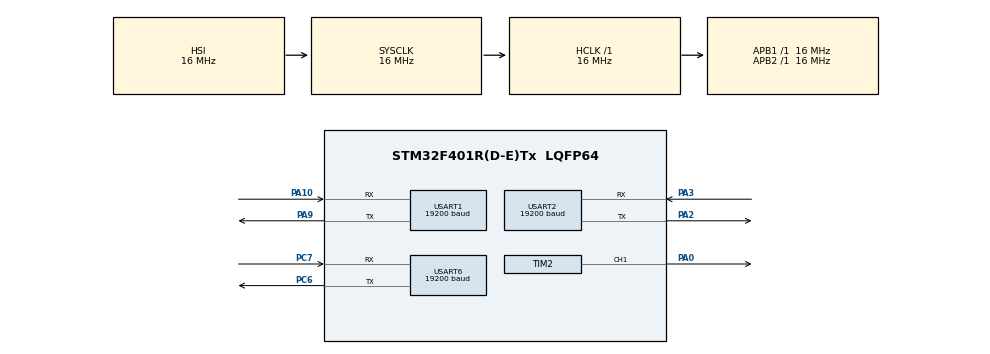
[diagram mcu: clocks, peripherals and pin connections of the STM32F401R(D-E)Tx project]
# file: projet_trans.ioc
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Mcu.Family=STM32F4
Mcu.Name=STM32F401R(D-E)Tx
Mcu.Package=LQFP64
NVIC.PriorityGroup=NVIC_PRIORITYGROUP_4
NVIC.TIM2_IRQn=true\:0\:0\:false\:false\:true\:true\:true
NVIC.TIM3_IRQn=true\:0\:0\:false\:false\:true\:true\:true
NVIC.USART1_IRQn=true\:0\:0\:false\:false\:true\:true\:true
NVIC.USART2_IRQn=true\:0\:0\:false\:false\:true\:true\:true
NVIC.USART6_IRQn=true\:0\:0\:false\:false\:true\:true\:true
PA0-WKUP.Signal=S_TIM2_CH1_ETR
PA10.Mode=Asynchronous
PA10.Signal=USART1_RX
PA2.Mode=Asynchronous
PA2.Signal=USART2_TX
PA3.Mode=Asynchronous
PA3.Signal=USART2_RX
PA9.Mode=Asynchronous
PA9.Signal=USART1_TX
PC6.Mode=Asynchronous
PC6.Signal=USART6_TX
PC7.Mode=Asynchronous
PC7.Signal=USART6_RX
ProjectManager.HeapSize=0x200
ProjectManager.StackSize=0x400
ProjectManager.TargetToolchain=STM32CubeIDE
RCC.AHBFreq_Value=16000000
RCC.APB1Freq_Value=16000000
RCC.APB2Freq_Value=16000000
RCC.CortexFreq_Value=16000000
RCC.HSE_VALUE=25000000
RCC.HSI_VALUE=16000000
RCC.LSE_VALUE=32768
RCC.SYSCLKFreq_VALUE=16000000
RCC.VCOOutputFreq_Value=192000000
SH.S_TIM2_CH1_ETR.0=TIM2_CH1,PWM Generation1 CH1
TIM2.Channel-PWM\ Generation1\ CH1=TIM_CHANNEL_1
TIM2.Period=99
TIM2.Prescaler=15500
TIM3.AutoReloadPreload=TIM_AUTORELOAD_PRELOAD_ENABLE
TIM3.Period=16000
TIM3.Prescaler=10
USART1.BaudRate=19200
USART1.VirtualMode=VM_ASYNC
USART2.BaudRate=19200
USART2.VirtualMode=VM_ASYNC
USART6.BaudRate=19200
USART6.VirtualMode=VM_ASYNC
VP_TIM2_VS_ClockSourceINT.Mode=Internal
VP_TIM3_VS_ClockSourceINT.Mode=Internal
board=custom

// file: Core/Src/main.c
/* USER CODE BEGIN Header */
/**
  ******************************************************************************
  * @file           : main.c
  * @brief          : Main program body
  ******************************************************************************
  * @attention
  *
  * <h2><center>&copy; Copyright (c) 2023 STMicroelectronics.
  * All rights reserved.</center></h2>
  *
  * This software component is licensed by ST under BSD 3-Clause license,
  * the "License"; You may not use this file except in compliance with the
  * License. You may obtain a copy of the License at:
  *                        opensource.org/licenses/BSD-3-Clause
  *
  ******************************************************************************
  */
/* USER CODE END Header */
#include "main.h"

/* USER CODE BEGIN Includes */
#include "string.h"
#include "../../core/pero_src/fonc.h"
unsigned char c1;
unsigned char c2[6];

char comm_Serial[100];
unsigned char lettre_Serial;

/* USER CODE END Includes */

TIM_HandleTypeDef htim2;
TIM_HandleTypeDef htim3;

UART_HandleTypeDef huart1;
UART_HandleTypeDef huart2;
UART_HandleTypeDef huart6;

void SystemClock_Config(void);
static void MX_GPIO_Init(void);
static void MX_USART1_UART_Init(void);
static void MX_USART2_UART_Init(void);
static void MX_TIM3_Init(void);
static void MX_USART6_UART_Init(void);
static void MX_TIM2_Init(void);

/* USER CODE BEGIN 0 */
void HAL_UART_RxCpltCallback(UART_HandleTypeDef *huart)
{
	if(huart == &huart2){
		Reception_Deplacement(c2);
		//Deplacement_Clavier(c1);
		HAL_UART_Receive_IT(&huart2, c2,6);

	}

	else if(huart == &huart6){

		if (lettre_Serial!='>'){
			HAL_UART_Transmit(&huart2,&lettre_Serial,1,100);
			strcat(comm_Serial, lettre_Serial);
		}
		else{
			//HAL_UART_Transmit(&huart1,&lettre_Serial,1,100);
			HAL_UART_Transmit(&huart2,'\n',1,100);
			comm_Serial[0] = '\0';
		}
		HAL_UART_Receive_IT(&huart6, &lettre_Serial,1);
	}
}

/* USER CODE END 0 */

int main(void)
{

  /* MCU Configuration--------------------------------------------------------*/

  /* Reset of all peripherals, Initializes the Flash interface and the Systick. */
  HAL_Init();

  /* Configure the system clock */
  SystemClock_Config();

  /* Initialize all configured peripherals */
  MX_GPIO_Init();
  MX_USART1_UART_Init();
  MX_USART2_UART_Init();
  MX_TIM3_Init();
  MX_USART6_UART_Init();
  MX_TIM2_Init();
  /* USER CODE BEGIN 2 */
  HAL_UART_Receive_IT(&huart2, c2,6);
  HAL_UART_Receive_IT(&huart6, &lettre_Serial,1);
  HAL_TIM_PWM_Start(&htim2, TIM_CHANNEL_1);

  /* USER CODE END 2 */

  /* Infinite loop */
  while (1)
  {

  }
}

void SystemClock_Config(void)
{
  RCC_OscInitTypeDef RCC_OscInitStruct = {0};
  RCC_ClkInitTypeDef RCC_ClkInitStruct = {0};

  /** Configure the main internal regulator output voltage
  */
  __HAL_RCC_PWR_CLK_ENABLE();
  __HAL_PWR_VOLTAGESCALING_CONFIG(PWR_REGULATOR_VOLTAGE_SCALE2);
  /** Initializes the RCC Oscillators according to the specified parameters
  * in the RCC_OscInitTypeDef structure.
  */
  RCC_OscInitStruct.OscillatorType = RCC_OSCILLATORTYPE_HSI;
  RCC_OscInitStruct.HSIState = RCC_HSI_ON;
  RCC_OscInitStruct.HSICalibrationValue = RCC_HSICALIBRATION_DEFAULT;
  RCC_OscInitStruct.PLL.PLLState = RCC_PLL_NONE;
  if (HAL_RCC_OscConfig(&RCC_OscInitStruct) != HAL_OK)
  {
    Error_Handler();
  }
  /** Initializes the CPU, AHB and APB buses clocks
  */
  RCC_ClkInitStruct.ClockType = RCC_CLOCKTYPE_HCLK|RCC_CLOCKTYPE_SYSCLK
                              |RCC_CLOCKTYPE_PCLK1|RCC_CLOCKTYPE_PCLK2;
  RCC_ClkInitStruct.SYSCLKSource = RCC_SYSCLKSOURCE_HSI;
  RCC_ClkInitStruct.AHBCLKDivider = RCC_SYSCLK_DIV1;
  RCC_ClkInitStruct.APB1CLKDivider = RCC_HCLK_DIV1;
  RCC_ClkInitStruct.APB2CLKDivider = RCC_HCLK_DIV1;

  if (HAL_RCC_ClockConfig(&RCC_ClkInitStruct, FLASH_LATENCY_0) != HAL_OK)
  {
    Error_Handler();
  }
}

static void MX_TIM2_Init(void)
{

  TIM_ClockConfigTypeDef sClockSourceConfig = {0};
  TIM_MasterConfigTypeDef sMasterConfig = {0};
  TIM_OC_InitTypeDef sConfigOC = {0};

  htim2.Instance = TIM2;
  htim2.Init.Prescaler = 15500;
  htim2.Init.CounterMode = TIM_COUNTERMODE_UP;
  htim2.Init.Period = 99;
  htim2.Init.ClockDivision = TIM_CLOCKDIVISION_DIV1;
  htim2.Init.AutoReloadPreload = TIM_AUTORELOAD_PRELOAD_DISABLE;
  if (HAL_TIM_Base_Init(&htim2) != HAL_OK)
  {
    Error_Handler();
  }
  sClockSourceConfig.ClockSource = TIM_CLOCKSOURCE_INTERNAL;
  if (HAL_TIM_ConfigClockSource(&htim2, &sClockSourceConfig) != HAL_OK)
  {
    Error_Handler();
  }
  if (HAL_TIM_PWM_Init(&htim2) != HAL_OK)
  {
    Error_Handler();
  }
  sMasterConfig.MasterOutputTrigger = TIM_TRGO_RESET;
  sMasterConfig.MasterSlaveMode = TIM_MASTERSLAVEMODE_DISABLE;
  if (HAL_TIMEx_MasterConfigSynchronization(&htim2, &sMasterConfig) != HAL_OK)
  {
    Error_Handler();
  }
  sConfigOC.OCMode = TIM_OCMODE_PWM1;
  sConfigOC.Pulse = 0;
  sConfigOC.OCPolarity = TIM_OCPOLARITY_HIGH;
  sConfigOC.OCFastMode = TIM_OCFAST_DISABLE;
  if (HAL_TIM_PWM_ConfigChannel(&htim2, &sConfigOC, TIM_CHANNEL_1) != HAL_OK)
  {
    Error_Handler();
  }
  HAL_TIM_MspPostInit(&htim2);

}

static void MX_TIM3_Init(void)
{

  TIM_ClockConfigTypeDef sClockSourceConfig = {0};
  TIM_MasterConfigTypeDef sMasterConfig = {0};

  htim3.Instance = TIM3;
  htim3.Init.Prescaler = 10;
  htim3.Init.CounterMode = TIM_COUNTERMODE_UP;
  htim3.Init.Period = 16000;
  htim3.Init.ClockDivision = TIM_CLOCKDIVISION_DIV1;
  htim3.Init.AutoReloadPreload = TIM_AUTORELOAD_PRELOAD_ENABLE;
  if (HAL_TIM_Base_Init(&htim3) != HAL_OK)
  {
    Error_Handler();
  }
  sClockSourceConfig.ClockSource = TIM_CLOCKSOURCE_INTERNAL;
  if (HAL_TIM_ConfigClockSource(&htim3, &sClockSourceConfig) != HAL_OK)
  {
    Error_Handler();
  }
  sMasterConfig.MasterOutputTrigger = TIM_TRGO_RESET;
  sMasterConfig.MasterSlaveMode = TIM_MASTERSLAVEMODE_DISABLE;
  if (HAL_TIMEx_MasterConfigSynchronization(&htim3, &sMasterConfig) != HAL_OK)
  {
    Error_Handler();
  }

}

static void MX_USART1_UART_Init(void)
{

  huart1.Instance = USART1;
  huart1.Init.BaudRate = 19200;
  huart1.Init.WordLength = UART_WORDLENGTH_8B;
  huart1.Init.StopBits = UART_STOPBITS_1;
  huart1.Init.Parity = UART_PARITY_NONE;
  huart1.Init.Mode = UART_MODE_TX_RX;
  huart1.Init.HwFlowCtl = UART_HWCONTROL_NONE;
  huart1.Init.OverSampling = UART_OVERSAMPLING_16;
  if (HAL_UART_Init(&huart1) != HAL_OK)
  {
    Error_Handler();
  }

}

static void MX_USART2_UART_Init(void)
{

  huart2.Instance = USART2;
  huart2.Init.BaudRate = 19200;
  huart2.Init.WordLength = UART_WORDLENGTH_8B;
  huart2.Init.StopBits = UART_STOPBITS_1;
  huart2.Init.Parity = UART_PARITY_NONE;
  huart2.Init.Mode = UART_MODE_TX_RX;
  huart2.Init.HwFlowCtl = UART_HWCONTROL_NONE;
  huart2.Init.OverSampling = UART_OVERSAMPLING_16;
  if (HAL_UART_Init(&huart2) != HAL_OK)
  {
    Error_Handler();
  }

}

static void MX_USART6_UART_Init(void)
{

  huart6.Instance = USART6;
  huart6.Init.BaudRate = 19200;
  huart6.Init.WordLength = UART_WORDLENGTH_8B;
  huart6.Init.StopBits = UART_STOPBITS_1;
  huart6.Init.Parity = UART_PARITY_NONE;
  huart6.Init.Mode = UART_MODE_TX_RX;
  huart6.Init.HwFlowCtl = UART_HWCONTROL_NONE;
  huart6.Init.OverSampling = UART_OVERSAMPLING_16;
  if (HAL_UART_Init(&huart6) != HAL_OK)
  {
    Error_Handler();
  }

}

static void MX_GPIO_Init(void)
{

  /* GPIO Ports Clock Enable */
  __HAL_RCC_GPIOA_CLK_ENABLE();
  __HAL_RCC_GPIOC_CLK_ENABLE();

}

void Error_Handler(void)
{
  __disable_irq();
  while (1)
  {
  }
}

/************************ (C) COPYRIGHT STMicroelectronics *****END OF FILE****/
